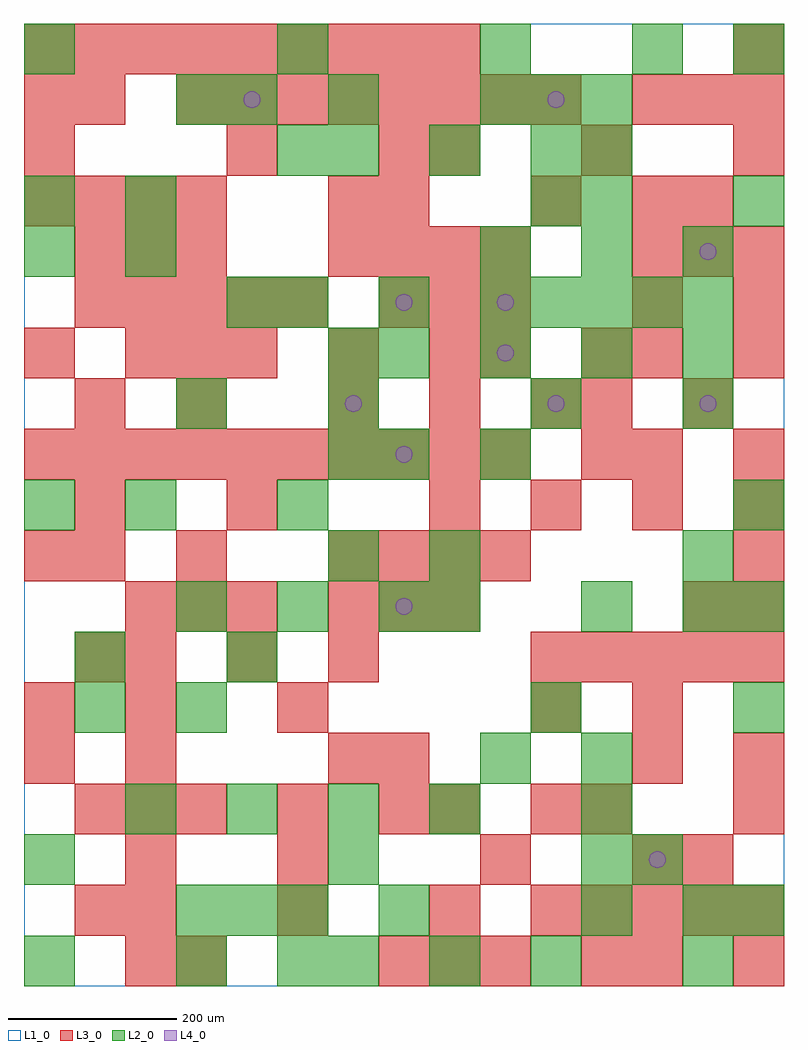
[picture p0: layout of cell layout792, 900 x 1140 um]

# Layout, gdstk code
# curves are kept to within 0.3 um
import gdstk
lib = gdstk.Library(unit=1e-6, precision=1e-09)
def R(c, l, rs):  # rectangles x0, y0, x1, y1
    for r in rs: c.add(gdstk.rectangle(r[:2], r[2:], *l))
def A(c, l, x, y, w, h, nx, ny, dx, dy):  # array of equal rectangles
    R(c, l, [(x+i*dx, y+j*dy, x+i*dx+w, y+j*dy+h) for i in range(nx) for j in range(ny)])
def P(c, l, *ps):  # polygons
    for p in ps: c.add(gdstk.Polygon(p, *l))
L1_0 = (1, 0)
L2_0 = (2, 0)
L3_0 = (3, 0)
L4_0 = (4, 0)

layout792 = lib.new_cell('layout792')
R(layout792, L1_0, [(0,0,900,1140)])
A(layout792, L2_0, 360, 0, 60, 60, 3, 2, 120, 960)
A(layout792, L2_0, 180, 60, 60, 60, 3, 1, 60, 0)
A(layout792, L2_0, 660, 60, 60, 60, 1, 4, 0, 60)
A(layout792, L2_0, 120, 180, 60, 60, 4, 1, 120, 0)
A(layout792, L2_0, 180, 300, 60, 60, 1, 3, 0, 360)
A(layout792, L2_0, 840, 300, 60, 60, 1, 3, 0, 120)
A(layout792, L2_0, 180, 420, 60, 60, 3, 1, 120, 0)
A(layout792, L2_0, 360, 600, 60, 60, 1, 3, 0, 60)
A(layout792, L2_0, 420, 720, 60, 60, 4, 1, 120, 0)
A(layout792, L2_0, 300, 780, 60, 60, 3, 1, 120, 0)
A(layout792, L2_0, 600, 780, 60, 60, 4, 1, 60, 0)
A(layout792, L2_0, 540, 840, 60, 60, 3, 1, 120, 0)
A(layout792, L2_0, 540, 1020, 60, 60, 3, 1, 60, 0)
R(layout792, L2_0, [(0,0,60,60), (180,0,240,60), (300,0,360,60), (780,0,840,60), (420,60,480,120), (780,60,840,120), (840,60,900,120), (0,120,60,180), (360,120,420,180), (720,120,780,180), (540,240,600,300), (60,300,120,360), (600,300,660,360), (60,360,120,420), (240,360,300,420), (480,420,540,480), (660,420,720,480), (780,420,840,480), (360,480,420,540), (480,480,540,540), (780,480,840,540), (0,540,60,600), (120,540,180,600), (300,540,360,600), (420,600,480,660), (540,600,600,660), (600,660,660,720), (780,660,840,720), (240,780,300,840), (0,840,60,900), (120,840,180,900), (0,900,60,960), (120,900,180,960), (600,900,660,960), (660,900,720,960), (840,900,900,960), (300,960,360,1020), (660,960,720,1020), (240,1020,300,1080), (360,1020,420,1080), (0,1080,60,1140), (300,1080,360,1140), (540,1080,600,1140), (720,1080,780,1140), (840,1080,900,1140)])
A(layout792, L3_0, 120, 0, 60, 60, 1, 3, 0, 120)
A(layout792, L3_0, 420, 0, 60, 60, 3, 2, 60, 780)
A(layout792, L3_0, 720, 0, 60, 60, 1, 3, 0, 120)
A(layout792, L3_0, 120, 60, 60, 60, 3, 1, 180, 0)
A(layout792, L3_0, 600, 60, 60, 60, 5, 2, 60, 300)
A(layout792, L3_0, 60, 180, 60, 60, 3, 2, 60, 660)
A(layout792, L3_0, 120, 360, 60, 60, 3, 1, 120, 0)
A(layout792, L3_0, 120, 420, 60, 60, 3, 2, 60, 300)
A(layout792, L3_0, 360, 420, 60, 60, 3, 1, 60, 0)
A(layout792, L3_0, 780, 420, 60, 60, 1, 3, 0, 240)
A(layout792, L3_0, 0, 480, 60, 60, 1, 3, 0, 240)
A(layout792, L3_0, 360, 480, 60, 60, 4, 2, 60, 360)
A(layout792, L3_0, 840, 480, 60, 60, 1, 3, 0, 120)
A(layout792, L3_0, 480, 540, 60, 60, 4, 1, 120, 0)
A(layout792, L3_0, 0, 600, 60, 60, 10, 1, 60, 0)
A(layout792, L3_0, 660, 600, 60, 60, 1, 3, 0, 60)
A(layout792, L3_0, 360, 660, 60, 60, 3, 1, 120, 0)
A(layout792, L3_0, 60, 780, 60, 60, 5, 1, 60, 0)
A(layout792, L3_0, 720, 840, 60, 60, 3, 2, 60, 180)
A(layout792, L3_0, 0, 900, 60, 60, 4, 1, 60, 0)
A(layout792, L3_0, 480, 960, 60, 60, 3, 1, 180, 0)
A(layout792, L3_0, 180, 1020, 60, 60, 8, 1, 60, 0)
A(layout792, L3_0, 0, 1080, 60, 60, 9, 1, 60, 0)
R(layout792, L3_0, [(180,0,240,60), (660,0,720,60), (840,0,900,60), (60,60,120,120), (300,120,360,180), (540,120,600,180), (780,120,840,180), (300,180,360,240), (420,180,480,240), (480,180,540,240), (600,180,660,240), (660,180,720,240), (840,180,900,240), (0,240,60,300), (360,240,420,300), (420,240,480,300), (840,240,900,300), (0,300,60,360), (120,300,180,360), (300,300,360,360), (600,300,660,360), (720,300,780,360), (60,360,120,420), (840,420,900,480), (60,480,120,540), (180,480,240,540), (60,540,120,600), (240,540,300,600), (720,600,780,660), (60,660,120,720), (180,660,240,720), (360,720,420,780), (480,720,540,780), (540,720,600,780), (720,720,780,780), (720,780,780,840), (840,780,900,840), (360,900,420,960), (420,900,480,960), (600,900,660,960), (720,900,780,960), (240,960,300,1020), (420,960,480,1020), (0,1020,60,1080), (60,1020,120,1080), (840,1080,900,1140)])
P(layout792, L4_0, [(280,1050),(279.239,1053.827),(277.071,1057.071),(273.827,1059.239),(270,1060),(266.173,1059.239),(262.929,1057.071),(260.761,1053.827),(260,1050),(260.761,1046.173),(262.929,1042.929),(266.173,1040.761),(270,1040),(273.827,1040.761),(277.071,1042.929),(279.239,1046.173)],
  [(400,690),(399.239,693.827),(397.071,697.071),(393.827,699.239),(390,700),(386.173,699.239),(382.929,697.071),(380.761,693.827),(380,690),(380.761,686.173),(382.929,682.929),(386.173,680.761),(390,680),(393.827,680.761),(397.071,682.929),(399.239,686.173)],
  [(460,450),(459.239,453.827),(457.071,457.071),(453.827,459.239),(450,460),(446.173,459.239),(442.929,457.071),(440.761,453.827),(440,450),(440.761,446.173),(442.929,442.929),(446.173,440.761),(450,440),(453.827,440.761),(457.071,442.929),(459.239,446.173)],
  [(460,630),(459.239,633.827),(457.071,637.071),(453.827,639.239),(450,640),(446.173,639.239),(442.929,637.071),(440.761,633.827),(440,630),(440.761,626.173),(442.929,622.929),(446.173,620.761),(450,620),(453.827,620.761),(457.071,622.929),(459.239,626.173)],
  [(460,810),(459.239,813.827),(457.071,817.071),(453.827,819.239),(450,820),(446.173,819.239),(442.929,817.071),(440.761,813.827),(440,810),(440.761,806.173),(442.929,802.929),(446.173,800.761),(450,800),(453.827,800.761),(457.071,802.929),(459.239,806.173)],
  [(580,750),(579.239,753.827),(577.071,757.071),(573.827,759.239),(570,760),(566.173,759.239),(562.929,757.071),(560.761,753.827),(560,750),(560.761,746.173),(562.929,742.929),(566.173,740.761),(570,740),(573.827,740.761),(577.071,742.929),(579.239,746.173)],
  [(580,810),(579.239,813.827),(577.071,817.071),(573.827,819.239),(570,820),(566.173,819.239),(562.929,817.071),(560.761,813.827),(560,810),(560.761,806.173),(562.929,802.929),(566.173,800.761),(570,800),(573.827,800.761),(577.071,802.929),(579.239,806.173)],
  [(640,690),(639.239,693.827),(637.071,697.071),(633.827,699.239),(630,700),(626.173,699.239),(622.929,697.071),(620.761,693.827),(620,690),(620.761,686.173),(622.929,682.929),(626.173,680.761),(630,680),(633.827,680.761),(637.071,682.929),(639.239,686.173)],
  [(640,1050),(639.239,1053.827),(637.071,1057.071),(633.827,1059.239),(630,1060),(626.173,1059.239),(622.929,1057.071),(620.761,1053.827),(620,1050),(620.761,1046.173),(622.929,1042.929),(626.173,1040.761),(630,1040),(633.827,1040.761),(637.071,1042.929),(639.239,1046.173)],
  [(760,150),(759.239,153.827),(757.071,157.071),(753.827,159.239),(750,160),(746.173,159.239),(742.929,157.071),(740.761,153.827),(740,150),(740.761,146.173),(742.929,142.929),(746.173,140.761),(750,140),(753.827,140.761),(757.071,142.929),(759.239,146.173)],
  [(820,690),(819.239,693.827),(817.071,697.071),(813.827,699.239),(810,700),(806.173,699.239),(802.929,697.071),(800.761,693.827),(800,690),(800.761,686.173),(802.929,682.929),(806.173,680.761),(810,680),(813.827,680.761),(817.071,682.929),(819.239,686.173)],
  [(820,870),(819.239,873.827),(817.071,877.071),(813.827,879.239),(810,880),(806.173,879.239),(802.929,877.071),(800.761,873.827),(800,870),(800.761,866.173),(802.929,862.929),(806.173,860.761),(810,860),(813.827,860.761),(817.071,862.929),(819.239,866.173)])

lib.write_gds('layout792.gds')
